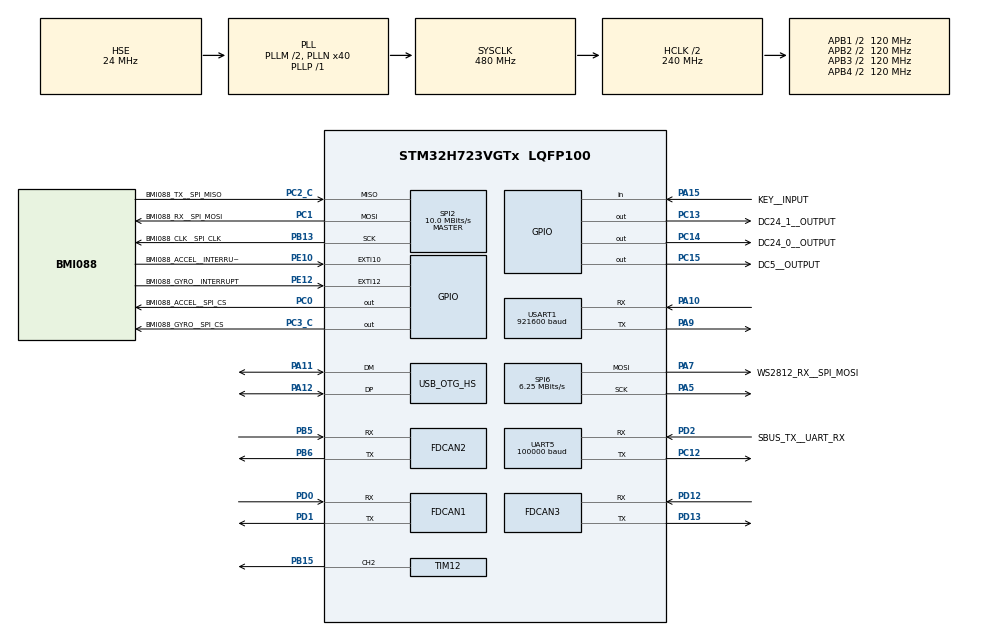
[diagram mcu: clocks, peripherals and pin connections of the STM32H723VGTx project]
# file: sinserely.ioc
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CORTEX_M7.AccessPermission_Spec=MPU_REGION_FULL_ACCESS
CORTEX_M7.BaseAddress_Spec=0x24000000
CORTEX_M7.CPU_DCache=Enabled
CORTEX_M7.CPU_ICache=Enabled
CORTEX_M7.DisableExec_Spec=MPU_INSTRUCTION_ACCESS_DISABLE
CORTEX_M7.Enable_S-Cortex_Memory_Protection_Unit_Region1_Settings_S=__NULL
CORTEX_M7.IsBufferable_Spec=MPU_ACCESS_NOT_BUFFERABLE
CORTEX_M7.IsCacheable_Spec=MPU_ACCESS_NOT_CACHEABLE
CORTEX_M7.IsShareable_Spec=MPU_ACCESS_SHAREABLE
CORTEX_M7.MPU_Control=MPU_PRIVILEGED_DEFAULT
CORTEX_M7.Size_Spec=MPU_REGION_SIZE_512KB
CORTEX_M7.SubRegionDisable_Spec=0xE0
CORTEX_M7.TypeExtField_Spec=MPU_TEX_LEVEL1
CORTEX_M7.default_mode_Activation=1
Dma.Request0=UART5_RX
Dma.Request1=USART1_RX
Dma.Request2=USART1_TX
Dma.Request3=SPI2_RX
Dma.Request4=SPI2_TX
Dma.SPI2_RX.3.Direction=DMA_PERIPH_TO_MEMORY
Dma.SPI2_RX.3.EventEnable=DISABLE
Dma.SPI2_RX.3.FIFOMode=DMA_FIFOMODE_ENABLE
Dma.SPI2_RX.3.FIFOThreshold=DMA_FIFO_THRESHOLD_FULL
Dma.SPI2_RX.3.Instance=DMA2_Stream3
Dma.SPI2_RX.3.MemBurst=DMA_MBURST_SINGLE
Dma.SPI2_RX.3.MemDataAlignment=DMA_MDATAALIGN_BYTE
Dma.SPI2_RX.3.MemInc=DMA_MINC_ENABLE
Dma.SPI2_RX.3.Mode=DMA_NORMAL
Dma.SPI2_RX.3.PeriphBurst=DMA_PBURST_SINGLE
Dma.SPI2_RX.3.PeriphDataAlignment=DMA_PDATAALIGN_BYTE
Dma.SPI2_RX.3.PeriphInc=DMA_PINC_DISABLE
Dma.SPI2_RX.3.Polarity=HAL_DMAMUX_REQ_GEN_RISING
Dma.SPI2_RX.3.Priority=DMA_PRIORITY_LOW
Dma.SPI2_RX.3.RequestNumber=1
Dma.SPI2_RX.3.SignalID=NONE
Dma.SPI2_RX.3.SyncEnable=DISABLE
Dma.SPI2_RX.3.SyncPolarity=HAL_DMAMUX_SYNC_NO_EVENT
Dma.SPI2_RX.3.SyncRequestNumber=1
Dma.SPI2_RX.3.SyncSignalID=NONE
Dma.SPI2_TX.4.Direction=DMA_MEMORY_TO_PERIPH
Dma.SPI2_TX.4.EventEnable=DISABLE
Dma.SPI2_TX.4.FIFOMode=DMA_FIFOMODE_DISABLE
Dma.SPI2_TX.4.Instance=DMA2_Stream4
Dma.SPI2_TX.4.MemDataAlignment=DMA_MDATAALIGN_BYTE
Dma.SPI2_TX.4.MemInc=DMA_MINC_ENABLE
Dma.SPI2_TX.4.Mode=DMA_NORMAL
Dma.SPI2_TX.4.PeriphDataAlignment=DMA_PDATAALIGN_BYTE
Dma.SPI2_TX.4.PeriphInc=DMA_PINC_DISABLE
Dma.SPI2_TX.4.Polarity=HAL_DMAMUX_REQ_GEN_RISING
Dma.SPI2_TX.4.Priority=DMA_PRIORITY_LOW
Dma.SPI2_TX.4.RequestNumber=1
Dma.SPI2_TX.4.SignalID=NONE
Dma.SPI2_TX.4.SyncEnable=DISABLE
Dma.SPI2_TX.4.SyncPolarity=HAL_DMAMUX_SYNC_NO_EVENT
Dma.SPI2_TX.4.SyncRequestNumber=1
Dma.SPI2_TX.4.SyncSignalID=NONE
Dma.UART5_RX.0.Direction=DMA_PERIPH_TO_MEMORY
Dma.UART5_RX.0.EventEnable=DISABLE
Dma.UART5_RX.0.FIFOMode=DMA_FIFOMODE_DISABLE
Dma.UART5_RX.0.Instance=DMA1_Stream4
Dma.UART5_RX.0.MemDataAlignment=DMA_MDATAALIGN_BYTE
Dma.UART5_RX.0.MemInc=DMA_MINC_ENABLE
Dma.UART5_RX.0.Mode=DMA_NORMAL
Dma.UART5_RX.0.PeriphDataAlignment=DMA_PDATAALIGN_BYTE
Dma.UART5_RX.0.PeriphInc=DMA_PINC_DISABLE
Dma.UART5_RX.0.Polarity=HAL_DMAMUX_REQ_GEN_RISING
Dma.UART5_RX.0.Priority=DMA_PRIORITY_VERY_HIGH
Dma.UART5_RX.0.RequestNumber=1
Dma.UART5_RX.0.SignalID=NONE
Dma.UART5_RX.0.SyncEnable=DISABLE
Dma.UART5_RX.0.SyncPolarity=HAL_DMAMUX_SYNC_NO_EVENT
Dma.UART5_RX.0.SyncRequestNumber=1
Dma.UART5_RX.0.SyncSignalID=NONE
Dma.USART1_RX.1.Direction=DMA_PERIPH_TO_MEMORY
Dma.USART1_RX.1.EventEnable=DISABLE
Dma.USART1_RX.1.FIFOMode=DMA_FIFOMODE_ENABLE
Dma.USART1_RX.1.FIFOThreshold=DMA_FIFO_THRESHOLD_FULL
Dma.USART1_RX.1.Instance=DMA1_Stream5
Dma.USART1_RX.1.MemBurst=DMA_MBURST_SINGLE
Dma.USART1_RX.1.MemDataAlignment=DMA_MDATAALIGN_BYTE
Dma.USART1_RX.1.MemInc=DMA_MINC_ENABLE
Dma.USART1_RX.1.Mode=DMA_NORMAL
Dma.USART1_RX.1.PeriphBurst=DMA_PBURST_SINGLE
Dma.USART1_RX.1.PeriphDataAlignment=DMA_PDATAALIGN_BYTE
Dma.USART1_RX.1.PeriphInc=DMA_PINC_DISABLE
Dma.USART1_RX.1.Polarity=HAL_DMAMUX_REQ_GEN_RISING
Dma.USART1_RX.1.Priority=DMA_PRIORITY_VERY_HIGH
Dma.USART1_RX.1.RequestNumber=1
Dma.USART1_RX.1.SignalID=NONE
Dma.USART1_RX.1.SyncEnable=DISABLE
Dma.USART1_RX.1.SyncPolarity=HAL_DMAMUX_SYNC_NO_EVENT
Dma.USART1_RX.1.SyncRequestNumber=1
Dma.USART1_RX.1.SyncSignalID=NONE
Dma.USART1_TX.2.Direction=DMA_MEMORY_TO_PERIPH
Dma.USART1_TX.2.EventEnable=DISABLE
Dma.USART1_TX.2.FIFOMode=DMA_FIFOMODE_ENABLE
Dma.USART1_TX.2.FIFOThreshold=DMA_FIFO_THRESHOLD_FULL
Dma.USART1_TX.2.Instance=DMA1_Stream6
Dma.USART1_TX.2.MemBurst=DMA_MBURST_SINGLE
Dma.USART1_TX.2.MemDataAlignment=DMA_MDATAALIGN_BYTE
Dma.USART1_TX.2.MemInc=DMA_MINC_ENABLE
Dma.USART1_TX.2.Mode=DMA_NORMAL
Dma.USART1_TX.2.PeriphBurst=DMA_PBURST_SINGLE
Dma.USART1_TX.2.PeriphDataAlignment=DMA_PDATAALIGN_BYTE
Dma.USART1_TX.2.PeriphInc=DMA_PINC_DISABLE
Dma.USART1_TX.2.Polarity=HAL_DMAMUX_REQ_GEN_RISING
Dma.USART1_TX.2.Priority=DMA_PRIORITY_LOW
Dma.USART1_TX.2.RequestNumber=1
Dma.USART1_TX.2.SignalID=NONE
Dma.USART1_TX.2.SyncEnable=DISABLE
Dma.USART1_TX.2.SyncPolarity=HAL_DMAMUX_SYNC_NO_EVENT
Dma.USART1_TX.2.SyncRequestNumber=1
Dma.USART1_TX.2.SyncSignalID=NONE
FDCAN1.AutoRetransmission=ENABLE
FDCAN1.CalculateBaudRateNominal=1000000
FDCAN1.CalculateTimeBitNominal=1000
FDCAN1.CalculateTimeQuantumNominal=25.0
FDCAN1.DataPrescaler=3
FDCAN1.DataSyncJumpWidth=10
FDCAN1.DataTimeSeg1=29
FDCAN1.DataTimeSeg2=10
FDCAN1.NominalPrescaler=3
FDCAN1.NominalSyncJumpWidth=10
FDCAN1.NominalTimeSeg1=29
FDCAN1.NominalTimeSeg2=10
FDCAN1.ProtocolException=DISABLE
FDCAN1.RxFifo0ElmtsNbr=16
FDCAN1.RxFifo1ElmtsNbr=0
FDCAN1.StdFiltersNbr=1
FDCAN1.TxFifoQueueElmtsNbr=32
FDCAN2.AutoRetransmission=ENABLE
FDCAN2.CalculateBaudRateNominal=1000000
FDCAN2.CalculateTimeBitNominal=1000
FDCAN2.CalculateTimeQuantumNominal=25.0
FDCAN2.DataPrescaler=3
FDCAN2.DataSyncJumpWidth=10
FDCAN2.DataTimeSeg1=29
FDCAN2.DataTimeSeg2=10
FDCAN2.MessageRAMOffset=853
FDCAN2.NominalPrescaler=3
FDCAN2.NominalSyncJumpWidth=10
FDCAN2.NominalTimeSeg1=29
FDCAN2.NominalTimeSeg2=10
FDCAN2.RxFifo0ElmtsNbr=0
FDCAN2.RxFifo1ElmtsNbr=16
FDCAN2.StdFiltersNbr=1
FDCAN2.TxFifoQueueElmtsNbr=32
FDCAN3.AutoRetransmission=ENABLE
FDCAN3.CalculateBaudRateNominal=1000000
FDCAN3.CalculateTimeBitNominal=1000
FDCAN3.CalculateTimeQuantumNominal=25.0
FDCAN3.DataPrescaler=3
FDCAN3.DataSyncJumpWidth=10
FDCAN3.DataTimeSeg1=29
FDCAN3.DataTimeSeg2=10
FDCAN3.MessageRAMOffset=1706
FDCAN3.NominalPrescaler=3
FDCAN3.NominalSyncJumpWidth=10
FDCAN3.NominalTimeSeg1=29
FDCAN3.NominalTimeSeg2=10
FDCAN3.RxFifo0ElmtsNbr=16
FDCAN3.RxFifo1ElmtsNbr=0
FDCAN3.StdFiltersNbr=1
FDCAN3.TxFifoQueueElmtsNbr=32
FREERTOS.HEAP_NUMBER=4
FREERTOS.Tasks01=defaultTask_ini,24,128,Task_init,As weak,NULL,Dynamic,NULL,NULL
FREERTOS.configCHECK_FOR_STACK_OVERFLOW=2
FREERTOS.configENABLE_FPU=1
FREERTOS.configTOTAL_HEAP_SIZE=1024*15
FREERTOS.configUSE_MALLOC_FAILED_HOOK=1
Mcu.Family=STM32H7
Mcu.Name=STM32H723VGTx
Mcu.Package=LQFP100
NVIC.DMA1_Stream4_IRQn=true\:5\:0\:false\:false\:true\:true\:false\:true\:true
NVIC.DMA1_Stream5_IRQn=true\:5\:0\:false\:false\:true\:true\:false\:true\:true
NVIC.DMA1_Stream6_IRQn=true\:5\:0\:false\:false\:true\:true\:false\:true\:true
NVIC.DMA2_Stream3_IRQn=true\:5\:0\:false\:false\:true\:true\:false\:true\:true
NVIC.DMA2_Stream4_IRQn=true\:5\:0\:false\:false\:true\:true\:false\:true\:true
NVIC.EXTI15_10_IRQn=true\:5\:0\:true\:false\:true\:true\:true\:true\:true
NVIC.FDCAN1_IT0_IRQn=true\:5\:0\:false\:false\:true\:true\:true\:true\:true
NVIC.FDCAN1_IT1_IRQn=true\:5\:0\:false\:false\:true\:true\:true\:true\:true
NVIC.FDCAN2_IT0_IRQn=true\:5\:0\:false\:false\:true\:true\:true\:true\:true
NVIC.FDCAN2_IT1_IRQn=true\:5\:0\:false\:false\:true\:true\:true\:true\:true
NVIC.FDCAN3_IT0_IRQn=true\:5\:0\:false\:false\:true\:true\:true\:true\:true
NVIC.FDCAN3_IT1_IRQn=true\:5\:0\:false\:false\:true\:true\:true\:true\:true
NVIC.OTG_HS_IRQn=true\:5\:0\:false\:false\:true\:true\:false\:true\:true
NVIC.PriorityGroup=NVIC_PRIORITYGROUP_4
NVIC.SPI2_IRQn=true\:5\:0\:false\:false\:true\:true\:false\:true\:true
NVIC.TIM8_TRG_COM_TIM14_IRQn=true\:15\:0\:false\:false\:true\:false\:false\:true\:true
NVIC.TimeBase=TIM8_TRG_COM_TIM14_IRQn
NVIC.TimeBaseIP=TIM14
NVIC.UART5_IRQn=true\:5\:0\:true\:false\:true\:true\:true\:true\:true
NVIC.USART1_IRQn=true\:5\:0\:true\:false\:true\:true\:true\:true\:true
PA1.GPIO_Label=W25Q64_HOLD__OSPI_IO3
PA1.Signal=OCTOSPIM_P1_IO3
PA10.Mode=Asynchronous
PA10.Signal=USART1_RX
PA11.Mode=Device_Only_FS
PA11.Signal=USB_OTG_HS_DM
PA12.Mode=Device_Only_FS
PA12.Signal=USB_OTG_HS_DP
PA13(JTMS/SWDIO).Mode=Serial_Wire
PA13(JTMS/SWDIO).Signal=DEBUG_JTMS-SWDIO
PA14(JTCK/SWCLK).Mode=Serial_Wire
PA14(JTCK/SWCLK).Signal=DEBUG_JTCK-SWCLK
PA15(JTDI).GPIO_Label=KEY__INPUT
PA15(JTDI).Signal=GPIO_Input
PA2.GPIO_Label=SERVO_2__PWM
PA2.Signal=S_TIM2_CH3
PA3.GPIO_Label=W25Q64_WP__OSPI_IO2
PA3.Signal=OCTOSPIM_P1_IO2
PA5.GPIO_Speed=GPIO_SPEED_FREQ_VERY_HIGH
PA5.Mode=TX_Only_Simplex_Unidirect_Master
PA5.Signal=SPI6_SCK
PA7.GPIO_Label=WS2812_RX__SPI_MOSI
PA7.GPIO_Speed=GPIO_SPEED_FREQ_VERY_HIGH
PA7.Mode=TX_Only_Simplex_Unidirect_Master
PA7.Signal=SPI6_MOSI
PA9.Mode=Asynchronous
PA9.Signal=USART1_TX
PB0.GPIO_Label=W25Q64_SO__OSPI_IO1
PB0.Signal=OCTOSPIM_P1_IO1
PB13.GPIO_Label=BMI088_CLK__SPI_CLK
PB13.GPIO_Speed=GPIO_SPEED_FREQ_VERY_HIGH
PB13.Mode=Full_Duplex_Master
PB13.Signal=SPI2_SCK
PB15.Signal=S_TIM12_CH2
PB5.Mode=FDCAN_Activate
PB5.Signal=FDCAN2_RX
PB6.Mode=FDCAN_Activate
PB6.Signal=FDCAN2_TX
PC0.GPIO_Label=BMI088_ACCEL__SPI_CS
PC0.GPIO_Speed=GPIO_SPEED_FREQ_VERY_HIGH
PC0.PinState=GPIO_PIN_SET
PC0.Signal=GPIO_Output
PC1.GPIO_Label=BMI088_RX__SPI_MOSI
PC1.GPIO_Speed=GPIO_SPEED_FREQ_VERY_HIGH
PC1.Mode=Full_Duplex_Master
PC1.Signal=SPI2_MOSI
PC12.Mode=Asynchronous
PC12.Signal=UART5_TX
PC13.GPIO_Label=DC24_1__OUTPUT
PC13.PinState=GPIO_PIN_RESET
PC13.Signal=GPIO_Output
PC14-OSC32_IN.GPIO_Label=DC24_0__OUTPUT
PC14-OSC32_IN.Signal=GPIO_Output
PC15-OSC32_OUT.GPIO_Label=DC5__OUTPUT
PC15-OSC32_OUT.PinState=GPIO_PIN_RESET
PC15-OSC32_OUT.Signal=GPIO_Output
PC2_C.GPIO_Label=BMI088_TX__SPI_MISO
PC2_C.GPIO_Speed=GPIO_SPEED_FREQ_VERY_HIGH
PC2_C.Mode=Full_Duplex_Master
PC2_C.Signal=SPI2_MISO
PC3_C.GPIO_Label=BMI088_GYRO__SPI_CS
PC3_C.GPIO_Speed=GPIO_SPEED_FREQ_VERY_HIGH
PC3_C.PinState=GPIO_PIN_SET
PC3_C.Signal=GPIO_Output
PC4.GPIO_Label=BAT_VOLTAGE__ADC
PC4.Signal=ADCx_INP4
PD0.Mode=FDCAN_Activate
PD0.Signal=FDCAN1_RX
PD1.Mode=FDCAN_Activate
PD1.Signal=FDCAN1_TX
PD11.GPIO_Label=W25Q64_SI__OSPI_IO0
PD11.Signal=OCTOSPIM_P1_IO0
PD12.Mode=FDCAN_Activate
PD12.Signal=FDCAN3_RX
PD13.Mode=FDCAN_Activate
PD13.Signal=FDCAN3_TX
PD2.GPIO_Label=SBUS_TX__UART_RX
PD2.Mode=Asynchronous
PD2.Signal=UART5_RX
PD4.Signal=USART2_DE
PD5.Signal=USART2_TX
PD6.Signal=USART2_RX
PD8.Signal=USART3_TX
PD9.Signal=USART3_RX
PE10.GPIO_Label=BMI088_ACCEL__INTERRUPT
PE10.Signal=GPXTI10
PE12.GPIO_Label=BMI088_GYRO__INTERRUPT
PE12.Signal=GPXTI12
PE13.GPIO_Label=SERVO_0__PWM
PE13.Signal=S_TIM1_CH3
PE7.Signal=UART7_RX
PE8.Signal=UART7_TX
PE9.GPIO_Label=SERVO_1__PWM
PE9.Signal=S_TIM1_CH1
PH0-OSC_IN.Mode=HSE-External-Oscillator
PH0-OSC_IN.Signal=RCC_OSC_IN
PH1-OSC_OUT.Mode=HSE-External-Oscillator
PH1-OSC_OUT.Signal=RCC_OSC_OUT
ProjectManager.HeapSize=0x2000
ProjectManager.StackSize=0x4000
ProjectManager.TargetToolchain=CMake
RCC.ADCCLockSelection=RCC_ADCCLKSOURCE_CLKP
RCC.ADCFreq_Value=24000000
RCC.APB1Freq_Value=120000000
RCC.APB2Freq_Value=120000000
RCC.APB3Freq_Value=120000000
RCC.APB4Freq_Value=120000000
RCC.CKPERSourceSelection=RCC_CLKPSOURCE_HSE
RCC.CortexFreq_Value=480000000
RCC.D1PPRE=RCC_APB3_DIV2
RCC.D2PPRE1=RCC_APB1_DIV2
RCC.D2PPRE2=RCC_APB2_DIV2
RCC.D3PPRE=RCC_APB4_DIV2
RCC.DIVM1=2
RCC.DIVM2=12
RCC.DIVM3=24
RCC.DIVN1=40
RCC.DIVN2=100
RCC.DIVN3=160
RCC.DIVP1=1
RCC.DIVQ1=4
RCC.DIVQ2=4
RCC.HCLKFreq_Value=240000000
RCC.HPRE=RCC_HCLK_DIV2
RCC.HSE_VALUE=24000000
RCC.PLL1_VCI_Range-AdvancedSettings=RCC_PLL1VCIRANGE_3
RCC.PLL1_VCO_SEL-AdvancedSettings=RCC_PLL1VCOWIDE
RCC.PLL2FRACN=0
RCC.PLL2_VCO_SEL-AdvancedSettings=RCC_PLL2VCOWIDE
RCC.PLLFRACN=0
RCC.PLLSourceVirtual=RCC_PLLSOURCE_HSE
RCC.SPI123CLockSelection=RCC_SPI123CLKSOURCE_PLL3
RCC.SPI6CLockSelection=RCC_SPI6CLKSOURCE_PLL2
RCC.SYSCLKFreq_VALUE=480000000
RCC.SYSCLKSource=RCC_SYSCLKSOURCE_PLLCLK
RCC.USBCLockSelection=RCC_USBCLKSOURCE_HSI48
RCC.USBFreq_Value=48000000
SH.ADCx_INP4.0=ADC1_INP4
SH.S_TIM12_CH2.0=TIM12_CH2,PWM Generation2 CH2
SH.S_TIM1_CH1.0=TIM1_CH1
SH.S_TIM1_CH3.0=TIM1_CH3
SH.S_TIM2_CH3.0=TIM2_CH3
SPI2.BaudRatePrescaler=SPI_BAUDRATEPRESCALER_8
SPI2.CLKPhase=SPI_PHASE_2EDGE
SPI2.CLKPolarity=SPI_POLARITY_HIGH
SPI2.CalculateBaudRate=10.0 MBits/s
SPI2.DataSize=SPI_DATASIZE_8BIT
SPI2.Direction=SPI_DIRECTION_2LINES
SPI2.Mode=SPI_MODE_MASTER
SPI2.VirtualType=VM_MASTER
SPI6.BaudRatePrescaler=SPI_BAUDRATEPRESCALER_8
SPI6.CLKPolarity=SPI_POLARITY_LOW
SPI6.CalculateBaudRate=6.25 MBits/s
SPI6.DataSize=SPI_DATASIZE_8BIT
SPI6.Direction=SPI_DIRECTION_2LINES_TXONLY
SPI6.FirstBit=SPI_FIRSTBIT_MSB
SPI6.Mode=SPI_MODE_MASTER
SPI6.VirtualType=VM_MASTER
STMicroelectronics.X-CUBE-ALGOBUILD.1.4.0.LibraryCcDSPOoLibraryJjDSPOoLibrary=true
TIM12.Channel-PWM\ Generation2\ CH2=TIM_CHANNEL_2
UART5.BaudRate=100000
UART5.Mode=MODE_RX
UART5.Parity=PARITY_EVEN
UART5.StopBits=UART_STOPBITS_2
UART5.WordLength=WORDLENGTH_9B
USART1.BaudRate=921600
USART1.VirtualMode-Asynchronous=VM_ASYNC
USB_DEVICE.CLASS_NAME_HS=CDC
USB_DEVICE.MANUFACTURER_STRING=DM_MC02_test_FS
USB_DEVICE.PRODUCT_STRING_CDC_HS=DM_MC02_test_HS
USB_DEVICE.USBD_LPM_ENABLED=1
USB_DEVICE.USBD_MAX_NUM_INTERFACES=1
USB_DEVICE.USBD_SELF_POWERED=1
USB_DEVICE.VirtualMode=Cdc
USB_DEVICE.VirtualModeHS=Cdc_HS
USB_OTG_HS.VirtualMode-Device_Only_FS=Device_Only_FS
USB_OTG_HS.dma_enable-Device_Only_FS=DISABLE
VP_CORDIC_VS_CORDIC.Mode=CORDIC_Activate
VP_FREERTOS_VS_CMSIS_V2.Mode=CMSIS_V2
VP_MEMORYMAP_VS_MEMORYMAP.Mode=CurAppReg
VP_STMicroelectronics.X-CUBE-ALGOBUILD_VS_DSPOoLibraryJjLibrary_1.4.0_1.4.0.Mode=DSPOoLibraryJjLibrary
VP_SYS_VS_tim14.Mode=TIM14
VP_TIM12_VS_ClockSourceINT.Mode=Internal
VP_USB_DEVICE_VS_USB_DEVICE_CDC_HS.Mode=CDC_HS
board=custom

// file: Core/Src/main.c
/* USER CODE BEGIN Header */
/**
 ******************************************************************************
 * @file           : main.c
 * @brief          : Main program body
 ******************************************************************************
 * @attention
 *
 * Copyright (c) 2026 STMicroelectronics.
 * All rights reserved.
 *
 * This software is licensed under terms that can be found in the LICENSE file
 * in the root directory of this software component.
 * If no LICENSE file comes with this software, it is provided AS-IS.
 *
 ******************************************************************************
 */
/* USER CODE END Header */
#include "main.h"
#include "cmsis_os.h"
#include "cordic.h"
#include "dma.h"
#include "fdcan.h"
#include "spi.h"
#include "tim.h"
#include "usart.h"
#include "usb_device.h"
#include "gpio.h"

/* USER CODE BEGIN Includes */
#include "BMI088driver.h"
#include "bsp_dwt.h"
#include <stdio.h>
/* USER CODE END Includes */

void SystemClock_Config(void);
static void MPU_Config(void);
void MX_FREERTOS_Init(void);

int main(void)
{

  /* MPU Configuration--------------------------------------------------------*/
  MPU_Config();

  /* Enable the CPU Cache */

  /* Enable I-Cache---------------------------------------------------------*/
  SCB_EnableICache();

  /* Enable D-Cache---------------------------------------------------------*/
  SCB_EnableDCache();

  /* MCU Configuration--------------------------------------------------------*/

  /* Reset of all peripherals, Initializes the Flash interface and the Systick. */
  HAL_Init();

  /* Configure the system clock */
  SystemClock_Config();

  /* Initialize all configured peripherals */
  MX_GPIO_Init();
  MX_DMA_Init();
  MX_FDCAN1_Init();
  MX_FDCAN2_Init();
  MX_FDCAN3_Init();
  MX_USART1_UART_Init();
  MX_UART5_Init();
  MX_SPI2_Init();
  MX_SPI6_Init();
  MX_CORDIC_Init();
  MX_TIM12_Init();
  /* USER CODE BEGIN 2 */

  // 在tim2的更新里面更新dwt定时周期
  HAL_Delay(10);
  DWT_Init(480); // 初始化dwt时钟
	MX_USB_DEVICE_Init();// USB设备初始化

  /* USER CODE END 2 */

  /* Init scheduler */
  osKernelInitialize();  /* Call init function for freertos objects (in cmsis_os2.c) */
  MX_FREERTOS_Init();

  /* Start scheduler */
  osKernelStart();

  /* We should never get here as control is now taken by the scheduler */

  /* Infinite loop */
  while (1)
  {

  }
}

void SystemClock_Config(void)
{
  RCC_OscInitTypeDef RCC_OscInitStruct = {0};
  RCC_ClkInitTypeDef RCC_ClkInitStruct = {0};

  /** Supply configuration update enable
  */
  HAL_PWREx_ConfigSupply(PWR_LDO_SUPPLY);

  /** Configure the main internal regulator output voltage
  */
  __HAL_PWR_VOLTAGESCALING_CONFIG(PWR_REGULATOR_VOLTAGE_SCALE0);

  while(!__HAL_PWR_GET_FLAG(PWR_FLAG_VOSRDY)) {}

  /** Initializes the RCC Oscillators according to the specified parameters
  * in the RCC_OscInitTypeDef structure.
  */
  RCC_OscInitStruct.OscillatorType = RCC_OSCILLATORTYPE_HSI48|RCC_OSCILLATORTYPE_HSE;
  RCC_OscInitStruct.HSEState = RCC_HSE_ON;
  RCC_OscInitStruct.HSI48State = RCC_HSI48_ON;
  RCC_OscInitStruct.PLL.PLLState = RCC_PLL_ON;
  RCC_OscInitStruct.PLL.PLLSource = RCC_PLLSOURCE_HSE;
  RCC_OscInitStruct.PLL.PLLM = 2;
  RCC_OscInitStruct.PLL.PLLN = 40;
  RCC_OscInitStruct.PLL.PLLP = 1;
  RCC_OscInitStruct.PLL.PLLQ = 4;
  RCC_OscInitStruct.PLL.PLLR = 2;
  RCC_OscInitStruct.PLL.PLLRGE = RCC_PLL1VCIRANGE_3;
  RCC_OscInitStruct.PLL.PLLVCOSEL = RCC_PLL1VCOWIDE;
  RCC_OscInitStruct.PLL.PLLFRACN = 0;
  if (HAL_RCC_OscConfig(&RCC_OscInitStruct) != HAL_OK)
  {
    Error_Handler();
  }

  /** Initializes the CPU, AHB and APB buses clocks
  */
  RCC_ClkInitStruct.ClockType = RCC_CLOCKTYPE_HCLK|RCC_CLOCKTYPE_SYSCLK
                              |RCC_CLOCKTYPE_PCLK1|RCC_CLOCKTYPE_PCLK2
                              |RCC_CLOCKTYPE_D3PCLK1|RCC_CLOCKTYPE_D1PCLK1;
  RCC_ClkInitStruct.SYSCLKSource = RCC_SYSCLKSOURCE_PLLCLK;
  RCC_ClkInitStruct.SYSCLKDivider = RCC_SYSCLK_DIV1;
  RCC_ClkInitStruct.AHBCLKDivider = RCC_HCLK_DIV2;
  RCC_ClkInitStruct.APB3CLKDivider = RCC_APB3_DIV2;
  RCC_ClkInitStruct.APB1CLKDivider = RCC_APB1_DIV2;
  RCC_ClkInitStruct.APB2CLKDivider = RCC_APB2_DIV2;
  RCC_ClkInitStruct.APB4CLKDivider = RCC_APB4_DIV2;

  if (HAL_RCC_ClockConfig(&RCC_ClkInitStruct, FLASH_LATENCY_3) != HAL_OK)
  {
    Error_Handler();
  }
}

 /* MPU Configuration */

void MPU_Config(void)
{
  MPU_Region_InitTypeDef MPU_InitStruct = {0};

  /* Disables the MPU */
  HAL_MPU_Disable();

  /** Initializes and configures the Region and the memory to be protected
  */
  MPU_InitStruct.Enable = MPU_REGION_ENABLE;
  MPU_InitStruct.Number = MPU_REGION_NUMBER0;
  MPU_InitStruct.BaseAddress = 0x24000000;
  MPU_InitStruct.Size = MPU_REGION_SIZE_512KB;
  MPU_InitStruct.SubRegionDisable = 0xE0;
  MPU_InitStruct.TypeExtField = MPU_TEX_LEVEL1;
  MPU_InitStruct.AccessPermission = MPU_REGION_FULL_ACCESS;
  MPU_InitStruct.DisableExec = MPU_INSTRUCTION_ACCESS_DISABLE;
  MPU_InitStruct.IsShareable = MPU_ACCESS_SHAREABLE;
  MPU_InitStruct.IsCacheable = MPU_ACCESS_NOT_CACHEABLE;
  MPU_InitStruct.IsBufferable = MPU_ACCESS_NOT_BUFFERABLE;

  HAL_MPU_ConfigRegion(&MPU_InitStruct);
  /* Enables the MPU */
  HAL_MPU_Enable(MPU_PRIVILEGED_DEFAULT);

}

void HAL_TIM_PeriodElapsedCallback(TIM_HandleTypeDef *htim)
{
  /* USER CODE BEGIN Callback 0 */

  if (htim->Instance == TIM14)
  {
    DWT_Update();
  }
  /* USER CODE END Callback 0 */
  if (htim->Instance == TIM14)
  {
    HAL_IncTick();
  }
}

void Error_Handler(void)
{
  __disable_irq();
  while (1) {
  }
}
#ifdef USE_FULL_ASSERT
/**
  * @brief  Reports the name of the source file and the source line number
  *         where the assert_param error has occurred.
  * @param  file: pointer to the source file name
  * @param  line: assert_param error line source number
  * @retval None
  */
void assert_failed(uint8_t *file, uint32_t line)
{
  /* USER CODE BEGIN 6 */
  /* User can add his own implementation to report the file name and line
     number, ex: printf("Wrong parameters value: file %s on line %d\r\n", file,
     line) */
  /* USER CODE END 6 */
}
#endif /* USE_FULL_ASSERT */

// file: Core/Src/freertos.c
/* USER CODE BEGIN Header */
/**
  ******************************************************************************
  * File Name          : freertos.c
  * Description        : Code for freertos applications
  ******************************************************************************
  * @attention
  *
  * Copyright (c) 2026 STMicroelectronics.
  * All rights reserved.
  *
  * This software is licensed under terms that can be found in the LICENSE file
  * in the root directory of this software component.
  * If no LICENSE file comes with this software, it is provided AS-IS.
  *
  ******************************************************************************
  */
/* USER CODE END Header */

#include "FreeRTOS.h"
#include "task.h"
#include "main.h"
#include "cmsis_os.h"

/* USER CODE BEGIN PM */
void dwt_init_for_rtos(void)
{
    if (!(CoreDebug->DEMCR & CoreDebug_DEMCR_TRCENA_Msk))
        CoreDebug->DEMCR |= CoreDebug_DEMCR_TRCENA_Msk;
    if (!(DWT->CTRL & DWT_CTRL_CYCCNTENA_Msk))
    {
        DWT->CYCCNT = 0;
        DWT->CTRL |= DWT_CTRL_CYCCNTENA_Msk;
    }
}
/* USER CODE END PM */

/* Definitions for defaultTask_ini */
osThreadId_t defaultTask_iniHandle;
const osThreadAttr_t defaultTask_ini_attributes = {
  .name = "defaultTask_ini",
  .stack_size = 128 * 4,
  .priority = (osPriority_t) osPriorityNormal,
};

void Task_init(void *argument);

extern void MX_USB_DEVICE_Init(void);
void MX_FREERTOS_Init(void); /* (MISRA C 2004 rule 8.1) */

/* Hook prototypes */
void vApplicationStackOverflowHook(xTaskHandle xTask, signed char *pcTaskName);
void vApplicationMallocFailedHook(void);

/* USER CODE BEGIN 4 */
void vApplicationStackOverflowHook(xTaskHandle xTask, signed char *pcTaskName)
{
   /* Run time stack overflow checking is performed if
   configCHECK_FOR_STACK_OVERFLOW is defined to 1 or 2. This hook function is
   called if a stack overflow is detected. */
   while (1)
   {
       // 可以在这里添加一些调试信息输出，例如打印出哪个任务发生了栈溢出
       // printf("Stack overflow in task: %s\n", pcTaskName);

   }
}
/* USER CODE END 4 */

/* USER CODE BEGIN 5 */
void vApplicationMallocFailedHook(void)
{
   /* vApplicationMallocFailedHook() will only be called if
   configUSE_MALLOC_FAILED_HOOK is set to 1 in FreeRTOSConfig.h. It is a hook
   function that will get called if a call to pvPortMalloc() fails.
   pvPortMalloc() is called internally by the kernel whenever a task, queue,
   timer or semaphore is created. It is also called by various parts of the
   demo application. If heap_1.c or heap_2.c are used, then the size of the
   heap available to pvPortMalloc() is defined by configTOTAL_HEAP_SIZE in
   FreeRTOSConfig.h, and the xPortGetFreeHeapSize() API function can be used
   to query the size of free heap space that remains (although it does not
   provide information on how the remaining heap might be fragmented). */
}
/* USER CODE END 5 */

void MX_FREERTOS_Init(void) {
  /* USER CODE BEGIN Init */

  // SEGGER_SYSVIEW_Conf();
  // SEGGER_SYSVIEW_Start();

  /* USER CODE END Init */

  /* Create the thread(s) */
  /* creation of defaultTask_ini */
  defaultTask_iniHandle = osThreadNew(Task_init, NULL, &defaultTask_ini_attributes);

}

__weak void Task_init(void *argument)
{
  /* init code for USB_DEVICE */
  MX_USB_DEVICE_Init();
  for(;;)
  {
    osDelay(1);
  }
}
